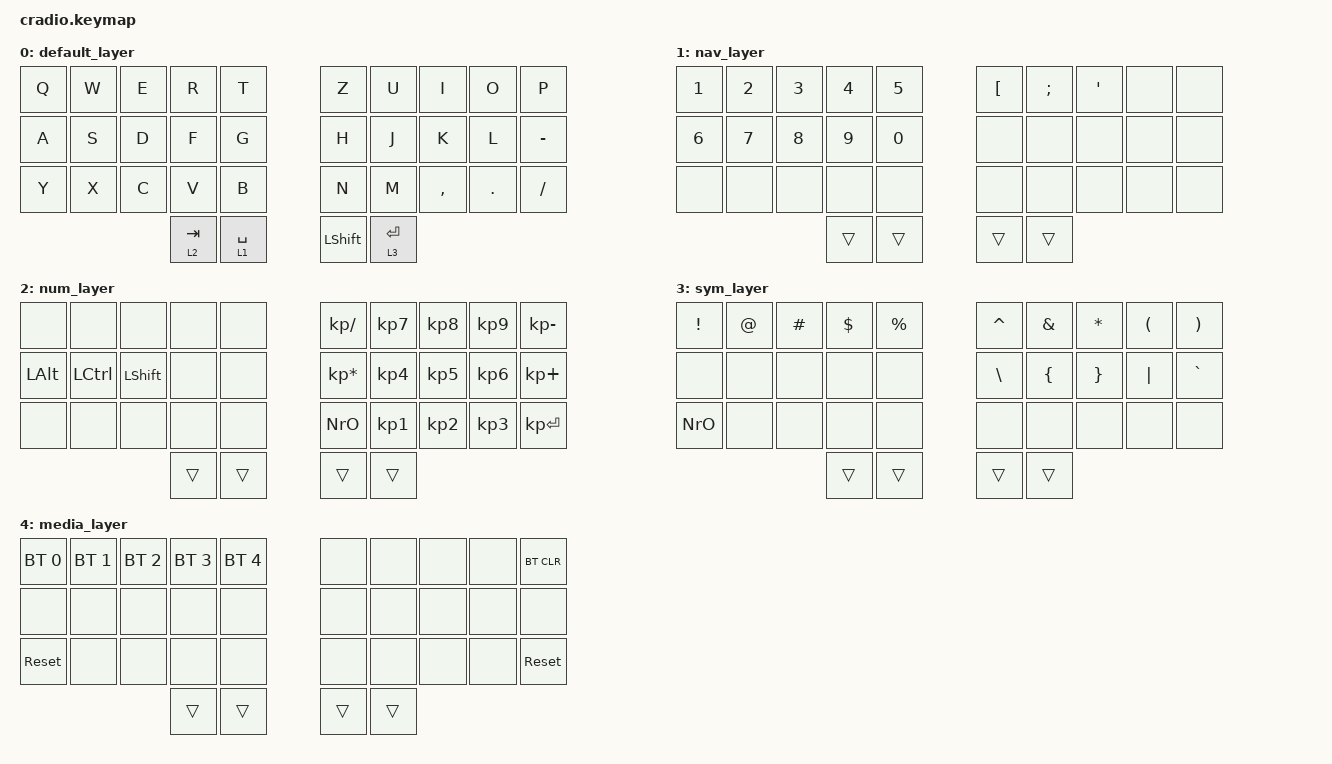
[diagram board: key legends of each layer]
#include <behaviors.dtsi>
#include <dt-bindings/zmk/bt.h>
#include <dt-bindings/zmk/keys.h>

/ {
    macros {
        NrO: NrO {
            compatible = "zmk,behavior-macro";
            #binding-cells = <0>;
            bindings =
                <&macro_tap>,
                <&kp LALT &kp KP_N0 &kp KP_N2 &kp KP_N1 &kp KP_N3>;
        };
    };

    keymap {
        compatible = "zmk,keymap";

        // LAYER 0: BASIS (Deutsches QWERTZ)

        default_layer {
            bindings = <
&kp Q  &kp W  &kp E  &kp R      &kp T          &kp Z       &kp U        &kp I      &kp O    &kp P
&kp A  &kp S  &kp D  &kp F      &kp G          &kp H       &kp J        &kp K      &kp L    &kp MINUS
&kp Y  &kp X  &kp C  &kp V      &kp B          &kp N       &kp M        &kp COMMA  &kp DOT  &kp SLASH
                     &lt 2 TAB  &lt 1 SPACE    &kp LSHIFT  &lt 3 ENTER
            >;
        };

        // LAYER 1: ZAHLEN & UMLAUTE

        nav_layer {
            bindings = <
&kp N1  &kp N2  &kp N3  &kp N4  &kp N5    &kp LBKT  &kp SEMI  &kp SQT  &none  &none
&kp N6  &kp N7  &kp N8  &kp N9  &kp N0    &none     &none     &none    &none  &none
&none   &none   &none   &none   &none     &none     &none     &none    &none  &none
                        &trans  &trans    &trans    &trans
            >;
        };

        // LAYER 2: DEIN ERGONOMISCHES NUMPAD & MAKRO

        num_layer {
            bindings = <
&none     &none      &none       &none   &none     &kp KP_SLASH     &kp KP_NUMBER_7  &kp KP_NUMBER_8  &kp KP_NUMBER_9  &kp KP_MINUS
&kp LALT  &kp LCTRL  &kp LSHIFT  &none   &none     &kp KP_ASTERISK  &kp KP_NUMBER_4  &kp KP_NUMBER_5  &kp KP_NUMBER_6  &kp KP_PLUS
&none     &none      &none       &none   &none     &NrO             &kp KP_NUMBER_1  &kp KP_NUMBER_2  &kp KP_NUMBER_3  &kp KP_ENTER
                                 &trans  &trans    &trans           &trans
            >;
        };

        // LAYER 3: SYMBOLE

        sym_layer {
            bindings = <
&kp EXCL  &kp AT  &kp HASH  &kp DLLR  &kp PRCNT    &kp CARET  &kp AMPS  &kp ASTRK  &kp LPAR  &kp RPAR
&none     &none   &none     &none     &none        &kp BSLH   &kp LBRC  &kp RBRC   &kp PIPE  &kp GRAVE
&NrO      &none   &none     &none     &none        &none      &none     &none      &none     &none
                            &trans    &trans       &trans     &trans
            >;
        };

        // LAYER 4: BLUETOOTH & SYSTEM

        media_layer {
            bindings = <
&bt BT_SEL 0  &bt BT_SEL 1  &bt BT_SEL 2  &bt BT_SEL 3  &bt BT_SEL 4    &none   &none   &none  &none  &bt BT_CLR
&none         &none         &none         &none         &none           &none   &none   &none  &none  &none
&sys_reset    &none         &none         &none         &none           &none   &none   &none  &none  &sys_reset
                                          &trans        &trans          &trans  &trans
            >;
        };
    };
};
